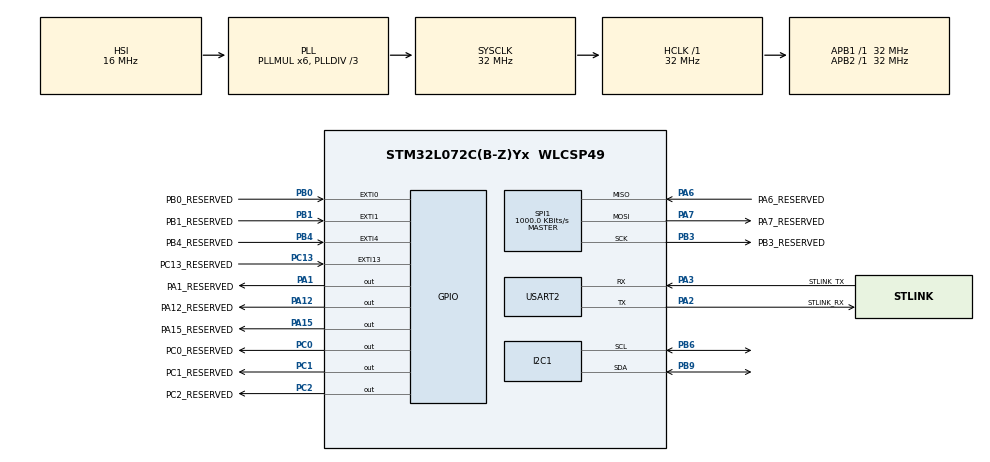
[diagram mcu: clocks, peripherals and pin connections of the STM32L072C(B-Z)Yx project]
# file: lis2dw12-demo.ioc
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I2C1.Timing=0x00B07CB4
Mcu.Family=STM32L0
Mcu.Name=STM32L072C(B-Z)Yx
Mcu.Package=WLCSP49
NVIC.EXTI0_1_IRQn=true\:0\:0\:false\:false\:true\:true\:true\:true
NVIC.EXTI4_15_IRQn=true\:0\:0\:false\:false\:true\:true\:true\:true
NVIC.RTC_IRQn=true\:0\:0\:false\:false\:true\:true\:true\:true
NVIC.USART2_IRQn=true\:0\:0\:false\:false\:true\:true\:true\:true
PA1.GPIO_Label=PA1_RESERVED
PA1.GPIO_Speed=GPIO_SPEED_FREQ_HIGH
PA1.PinState=GPIO_PIN_RESET
PA1.Signal=GPIO_Output
PA12.GPIO_Label=PA12_RESERVED
PA12.GPIO_Speed=GPIO_SPEED_FREQ_HIGH
PA12.Signal=GPIO_Output
PA15.GPIO_Label=PA15_RESERVED
PA15.GPIO_Speed=GPIO_SPEED_FREQ_HIGH
PA15.Signal=GPIO_Output
PA2.GPIO_Label=STLINK_RX
PA2.Mode=Asynchronous
PA2.Signal=USART2_TX
PA3.GPIO_Label=STLINK_TX
PA3.Mode=Asynchronous
PA3.Signal=USART2_RX
PA6.GPIO_Label=PA6_RESERVED
PA6.Mode=Full_Duplex_Master
PA6.Signal=SPI1_MISO
PA7.GPIO_Label=PA7_RESERVED
PA7.Mode=Full_Duplex_Master
PA7.Signal=SPI1_MOSI
PB0.GPIO_Label=PB0_RESERVED
PB0.Signal=GPXTI0
PB1.GPIO_Label=PB1_RESERVED
PB1.Signal=GPXTI1
PB3.GPIO_Label=PB3_RESERVED
PB3.Mode=Full_Duplex_Master
PB3.Signal=SPI1_SCK
PB4.GPIO_Label=PB4_RESERVED
PB4.Signal=GPXTI4
PB6.Mode=I2C
PB6.Signal=I2C1_SCL
PB9.Mode=I2C
PB9.Signal=I2C1_SDA
PC0.GPIO_Label=PC0_RESERVED
PC0.GPIO_Speed=GPIO_SPEED_FREQ_HIGH
PC0.Signal=GPIO_Output
PC1.GPIO_Label=PC1_RESERVED
PC1.GPIO_Speed=GPIO_SPEED_FREQ_HIGH
PC1.Signal=GPIO_Output
PC13.GPIO_Label=PC13_RESERVED
PC13.Signal=GPXTI13
PC2.GPIO_Label=PC2_RESERVED
PC2.GPIO_Speed=GPIO_SPEED_FREQ_HIGH
PC2.Signal=GPIO_Output
PH0-OSC_IN.Signal=RCC_OSC_IN
PH1-OSC_OUT.Signal=RCC_OSC_OUT
ProjectManager.HeapSize=0x200
ProjectManager.StackSize=0x400
ProjectManager.TargetToolchain=STM32CubeIDE
RCC.AHBFreq_Value=32000000
RCC.APB1Freq_Value=32000000
RCC.APB1TimFreq_Value=32000000
RCC.APB2Freq_Value=32000000
RCC.APB2TimFreq_Value=32000000
RCC.HCLKFreq_Value=32000000
RCC.HSE_VALUE=8000000
RCC.HSI16_VALUE=16000000
RCC.HSI48_VALUE=48000000
RCC.HSI_VALUE=16000000
RCC.LSE_VALUE=32768
RCC.MSI_VALUE=2097000
RCC.PLLDIV=RCC_PLLDIV_3
RCC.PLLMUL=RCC_PLLMUL_6
RCC.SYSCLKFreq_VALUE=32000000
RCC.SYSCLKSource=RCC_SYSCLKSOURCE_PLLCLK
RCC.VCOOutputFreq_Value=96000000
RTC.Alarm-Alarm\ A=RTC_ALARM_A
RTC.AlarmSubSecondMask-Alarm\ A=RTC_ALARMSUBSECONDMASK_NONE
RTC.AsynchPrediv=31
RTC.Format=RTC_FORMAT_BIN
RTC.SynchPrediv=1023
SPI1.BaudRatePrescaler=SPI_BAUDRATEPRESCALER_32
SPI1.CalculateBaudRate=1000.0 KBits/s
SPI1.Direction=SPI_DIRECTION_2LINES
SPI1.Mode=SPI_MODE_MASTER
SPI1.VirtualType=VM_MASTER
USART2.VirtualMode-Asynchronous=VM_ASYNC
VP_RTC_VS_RTC_Activate.Mode=RTC_Enabled
VP_RTC_VS_RTC_Alarm_A_Intern.Mode=Alarm A
VP_RTC_VS_RTC_Calendar.Mode=RTC_Calendar
board=B-L072Z-LRWAN1

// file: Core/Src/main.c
/* USER CODE BEGIN Header */
/**
  ******************************************************************************
  * @file           : main.c
  * @brief          : Main program body
  ******************************************************************************
  * @attention
  *
  * Copyright (c) 2026 STMicroelectronics.
  * All rights reserved.
  *
  * This software is licensed under terms that can be found in the LICENSE file
  * in the root directory of this software component.
  * If no LICENSE file comes with this software, it is provided AS-IS.
  *
  ******************************************************************************
  */
/* USER CODE END Header */
#include "main.h"

/* USER CODE BEGIN Includes */
#include <stdio.h>

/* USER CODE END Includes */

I2C_HandleTypeDef hi2c1;

RTC_HandleTypeDef hrtc;

SPI_HandleTypeDef hspi1;

UART_HandleTypeDef huart2;

void SystemClock_Config(void);
static void MX_GPIO_Init(void);
static void MX_I2C1_Init(void);
static void MX_RTC_Init(void);
static void MX_SPI1_Init(void);
static void MX_USART2_UART_Init(void);

/* USER CODE BEGIN 0 */

#define LIS2DW12_I2C_ADDRESS (0x18 << 1)
#define LIS2DW12_WHO_AM_I 0x0F
#define LIS2DW12_CTRL1 0x20
#define LIS2DW12_CTRL2 0x21
#define LIS2DW12_CTRL4 0x23
#define LIS2DW12_STATUS 0x27
#define LIS2DW12_OUT_X_L 0x28

static volatile uint8_t dataReadyInterruptSeen;

static void ValidateWhoAmI(void)
{
  uint8_t deviceId = 0;
  const uint8_t successMessage[] = "WHO_AM_I: 0x44\r\n";
  const uint8_t errorMessage[] = "WHO_AM_I: ERROR\r\n";

  if (HAL_I2C_Mem_Read(&hi2c1, LIS2DW12_I2C_ADDRESS, LIS2DW12_WHO_AM_I,
                       I2C_MEMADD_SIZE_8BIT, &deviceId, 1, 100) == HAL_OK
      && deviceId == 0x44)
  {
    HAL_UART_Transmit(&huart2, (uint8_t *)successMessage,
                      sizeof(successMessage) - 1, 100);
  }
  else
  {
    HAL_UART_Transmit(&huart2, (uint8_t *)errorMessage,
                      sizeof(errorMessage) - 1, 100);
  }
}

static void DecodeXyz(const uint8_t raw[6], int16_t axes[3])
{
  axes[0] = (int16_t)((uint16_t)raw[0] | ((uint16_t)raw[1] << 8));
  axes[1] = (int16_t)((uint16_t)raw[2] | ((uint16_t)raw[3] << 8));
  axes[2] = (int16_t)((uint16_t)raw[4] | ((uint16_t)raw[5] << 8));
}

static HAL_StatusTypeDef ReadXyzBurst(int16_t axes[3])
{
  uint8_t raw[6] = {0};
  HAL_StatusTypeDef status = HAL_I2C_Mem_Read(
      &hi2c1, LIS2DW12_I2C_ADDRESS, LIS2DW12_OUT_X_L,
      I2C_MEMADD_SIZE_8BIT, raw, sizeof(raw), 100);

  if (status == HAL_OK)
  {
    DecodeXyz(raw, axes);
  }
  return status;
}

static HAL_StatusTypeDef ReadXyzIndividual(int16_t axes[3])
{
  uint8_t raw[6] = {0};

  for (uint8_t i = 0; i < sizeof(raw); i++)
  {
    if (HAL_I2C_Mem_Read(&hi2c1, LIS2DW12_I2C_ADDRESS,
                         LIS2DW12_OUT_X_L + i, I2C_MEMADD_SIZE_8BIT,
                         &raw[i], 1, 100) != HAL_OK)
    {
      return HAL_ERROR;
    }
  }

  DecodeXyz(raw, axes);
  return HAL_OK;
}

static uint8_t IsExpectedSample(const int16_t axes[3])
{
  return axes[0] == 1600 && axes[1] == -3200 && axes[2] == 16000;
}

static void ValidateXyzRead(void)
{
  int16_t axes[3] = {0};
  const uint8_t successMessage[] = "XYZ: 1600,-3200,16000\r\n";
  const uint8_t errorMessage[] = "XYZ: ERROR\r\n";
  const uint8_t *message = errorMessage;
  uint16_t messageSize = sizeof(errorMessage) - 1;

  if (ReadXyzIndividual(axes) == HAL_OK && IsExpectedSample(axes))
  {
    message = successMessage;
    messageSize = sizeof(successMessage) - 1;
  }

  HAL_UART_Transmit(&huart2, (uint8_t *)message, messageSize, 100);
}

static void ValidateAutoIncrement(void)
{
  uint8_t disabled = 0x00;
  uint8_t enabled = 0x04;
  uint8_t repeated[6] = {0};
  int16_t axes[3] = {0};
  const uint8_t successMessage[] = "IF_ADD_INC: PASS\r\n";
  const uint8_t errorMessage[] = "IF_ADD_INC: ERROR\r\n";

  // Reuse the sample validated by ValidateXyzRead(). Its X value is 0.0976 g:
  // 0.0976 g / 0.000976 g/LSB = 100 counts; 100 << 4 = 0x0640,
  // so OUT_X_L contains 0x40. With address increment disabled, every byte
  // in this burst must therefore repeat 0x40 from OUT_X_L.
  if (HAL_I2C_Mem_Write(&hi2c1, LIS2DW12_I2C_ADDRESS, LIS2DW12_CTRL2,
                        I2C_MEMADD_SIZE_8BIT, &disabled, 1, 100) != HAL_OK
      || HAL_I2C_Mem_Read(&hi2c1, LIS2DW12_I2C_ADDRESS, LIS2DW12_OUT_X_L,
                          I2C_MEMADD_SIZE_8BIT, repeated, sizeof(repeated), 100) != HAL_OK
      || repeated[0] != 0x40 || repeated[1] != 0x40
      || repeated[2] != 0x40 || repeated[3] != 0x40
      || repeated[4] != 0x40 || repeated[5] != 0x40
      || ReadXyzIndividual(axes) != HAL_OK || !IsExpectedSample(axes))
  {
    HAL_UART_Transmit(&huart2, (uint8_t *)errorMessage,
                      sizeof(errorMessage) - 1, 100);
    return;
  }

  // Restore the default and read all six consecutive output registers.
  if (HAL_I2C_Mem_Write(&hi2c1, LIS2DW12_I2C_ADDRESS, LIS2DW12_CTRL2,
                        I2C_MEMADD_SIZE_8BIT, &enabled, 1, 100) != HAL_OK
      || ReadXyzBurst(axes) != HAL_OK || !IsExpectedSample(axes))
  {
    HAL_UART_Transmit(&huart2, (uint8_t *)errorMessage,
                      sizeof(errorMessage) - 1, 100);
    return;
  }

  HAL_UART_Transmit(&huart2, (uint8_t *)successMessage,
                    sizeof(successMessage) - 1, 100);
}

static void ValidateDataReadyPolling(void)
{
  uint8_t ctrl1 = 0x20;
  uint8_t status = 0;
  uint32_t startedAt = HAL_GetTick();
  const uint8_t successMessage[] = "DRDY_POLL: PASS\r\n";
  const uint8_t errorMessage[] = "DRDY_POLL: ERROR\r\n";
  const uint8_t *message = errorMessage;
  uint16_t messageSize = sizeof(errorMessage) - 1;

  if (HAL_I2C_Mem_Write(&hi2c1, LIS2DW12_I2C_ADDRESS, LIS2DW12_CTRL1,
                        I2C_MEMADD_SIZE_8BIT, &ctrl1, 1, 100) == HAL_OK)
  {
    // ODR enables conversions; DRDY is raised only after a new sample arrives.
    while ((HAL_GetTick() - startedAt) < 1000)
    {
      if (HAL_I2C_Mem_Read(&hi2c1, LIS2DW12_I2C_ADDRESS, LIS2DW12_STATUS,
                           I2C_MEMADD_SIZE_8BIT, &status, 1, 100) != HAL_OK)
      {
        break;
      }
      if ((status & 0x01) != 0)
      {
        message = successMessage;
        messageSize = sizeof(successMessage) - 1;
        break;
      }
    }
  }

  HAL_UART_Transmit(&huart2, (uint8_t *)message, messageSize, 100);
}

static void ValidateDataReadyInterrupt(void)
{
  uint8_t ctrl4 = 0x01;
  uint32_t startedAt = HAL_GetTick();
  const uint8_t successMessage[] = "DRDY_INT1: PASS\r\n";
  const uint8_t errorMessage[] = "DRDY_INT1: ERROR\r\n";

  dataReadyInterruptSeen = 0;
  if (HAL_I2C_Mem_Write(&hi2c1, LIS2DW12_I2C_ADDRESS, LIS2DW12_CTRL4,
                        I2C_MEMADD_SIZE_8BIT, &ctrl4, 1, 100) == HAL_OK)
  {
    while (!dataReadyInterruptSeen && (HAL_GetTick() - startedAt) < 10)
    {
    }
  }

  const uint8_t *message = dataReadyInterruptSeen ? successMessage : errorMessage;
  uint16_t messageSize = dataReadyInterruptSeen
      ? sizeof(successMessage) - 1
      : sizeof(errorMessage) - 1;
  HAL_UART_Transmit(&huart2, (uint8_t *)message, messageSize, 100);
}

static void FormatAccelerationG(int16_t raw, char *text, size_t textSize)
{
  // Default 12-bit mode: the signed sample is left-aligned by four bits and
  // each count represents 976 micro-g (DS11811 Rev. 9, Table 3).
  int32_t microG = ((int32_t)raw / 16) * 976;
  uint32_t magnitude = microG < 0 ? (uint32_t)(-microG) : (uint32_t)microG;

  snprintf(text, textSize, "%s%lu.%06lu", microG < 0 ? "-" : "",
           (unsigned long)(magnitude / 1000000U),
           (unsigned long)(magnitude % 1000000U));
}

static void ReportDataReadySample(void)
{
  int16_t axes[3] = {0};
  char values[3][16];
  char message[72];

  if (!dataReadyInterruptSeen)
  {
    return;
  }

  // Keep I2C and UART work outside the ISR; the callback only records the edge.
  dataReadyInterruptSeen = 0;
  if (ReadXyzBurst(axes) != HAL_OK)
  {
    return;
  }

  FormatAccelerationG(axes[0], values[0], sizeof(values[0]));
  FormatAccelerationG(axes[1], values[1], sizeof(values[1]));
  FormatAccelerationG(axes[2], values[2], sizeof(values[2]));
  int length = snprintf(message, sizeof(message), "DRDY XYZ [g]: %s,%s,%s\r\n",
                        values[0], values[1], values[2]);
  if (length > 0)
  {
    HAL_UART_Transmit(&huart2, (uint8_t *)message, (uint16_t)length, 100);
  }
}

void HAL_GPIO_EXTI_Callback(uint16_t GPIO_Pin)
{
  if (GPIO_Pin == PB1_RESERVED_Pin)
  {
    dataReadyInterruptSeen = 1;
  }
}

/* USER CODE END 0 */

int main(void)
{

  /* MCU Configuration--------------------------------------------------------*/

  /* Reset of all peripherals, Initializes the Flash interface and the Systick. */
  HAL_Init();

  /* Configure the system clock */
  SystemClock_Config();

  /* Initialize all configured peripherals */
  MX_GPIO_Init();
  MX_I2C1_Init();
  MX_RTC_Init();
  MX_SPI1_Init();
  MX_USART2_UART_Init();
  /* USER CODE BEGIN 2 */

  const uint8_t helloMessage[] = "Hello from STM32\r\n";
  HAL_UART_Transmit(&huart2, (uint8_t *)helloMessage,
                    sizeof(helloMessage) - 1, 100);

  ValidateWhoAmI();
  ValidateXyzRead();
  ValidateAutoIncrement();
  ValidateDataReadyPolling();
  ValidateDataReadyInterrupt();

  /* USER CODE END 2 */

  /* Infinite loop */
  while (1)
  {

    /* USER CODE BEGIN 3 */
    // Interrupts flag new data; this delay caps reads and UART output at 10 Hz.
    HAL_Delay(100);
    ReportDataReadySample();
  }
  /* USER CODE END 3 */
}

void SystemClock_Config(void)
{
  RCC_OscInitTypeDef RCC_OscInitStruct = {0};
  RCC_ClkInitTypeDef RCC_ClkInitStruct = {0};
  RCC_PeriphCLKInitTypeDef PeriphClkInit = {0};

  /** Configure the main internal regulator output voltage
  */
  __HAL_PWR_VOLTAGESCALING_CONFIG(PWR_REGULATOR_VOLTAGE_SCALE1);

  /** Initializes the RCC Oscillators according to the specified parameters
  * in the RCC_OscInitTypeDef structure.
  */
  RCC_OscInitStruct.OscillatorType = RCC_OSCILLATORTYPE_HSI|RCC_OSCILLATORTYPE_LSI;
  RCC_OscInitStruct.HSIState = RCC_HSI_ON;
  RCC_OscInitStruct.HSICalibrationValue = RCC_HSICALIBRATION_DEFAULT;
  RCC_OscInitStruct.LSIState = RCC_LSI_ON;
  RCC_OscInitStruct.PLL.PLLState = RCC_PLL_ON;
  RCC_OscInitStruct.PLL.PLLSource = RCC_PLLSOURCE_HSI;
  RCC_OscInitStruct.PLL.PLLMUL = RCC_PLLMUL_6;
  RCC_OscInitStruct.PLL.PLLDIV = RCC_PLLDIV_3;
  if (HAL_RCC_OscConfig(&RCC_OscInitStruct) != HAL_OK)
  {
    Error_Handler();
  }

  /** Initializes the CPU, AHB and APB buses clocks
  */
  RCC_ClkInitStruct.ClockType = RCC_CLOCKTYPE_HCLK|RCC_CLOCKTYPE_SYSCLK
                              |RCC_CLOCKTYPE_PCLK1|RCC_CLOCKTYPE_PCLK2;
  RCC_ClkInitStruct.SYSCLKSource = RCC_SYSCLKSOURCE_PLLCLK;
  RCC_ClkInitStruct.AHBCLKDivider = RCC_SYSCLK_DIV1;
  RCC_ClkInitStruct.APB1CLKDivider = RCC_HCLK_DIV1;
  RCC_ClkInitStruct.APB2CLKDivider = RCC_HCLK_DIV1;

  if (HAL_RCC_ClockConfig(&RCC_ClkInitStruct, FLASH_LATENCY_1) != HAL_OK)
  {
    Error_Handler();
  }
  PeriphClkInit.PeriphClockSelection = RCC_PERIPHCLK_USART2|RCC_PERIPHCLK_I2C1
                              |RCC_PERIPHCLK_RTC;
  PeriphClkInit.Usart2ClockSelection = RCC_USART2CLKSOURCE_PCLK1;
  PeriphClkInit.I2c1ClockSelection = RCC_I2C1CLKSOURCE_PCLK1;
  PeriphClkInit.RTCClockSelection = RCC_RTCCLKSOURCE_LSI;
  if (HAL_RCCEx_PeriphCLKConfig(&PeriphClkInit) != HAL_OK)
  {
    Error_Handler();
  }
}

static void MX_I2C1_Init(void)
{

  hi2c1.Instance = I2C1;
  hi2c1.Init.Timing = 0x00B07CB4;
  hi2c1.Init.OwnAddress1 = 0;
  hi2c1.Init.AddressingMode = I2C_ADDRESSINGMODE_7BIT;
  hi2c1.Init.DualAddressMode = I2C_DUALADDRESS_DISABLE;
  hi2c1.Init.OwnAddress2 = 0;
  hi2c1.Init.OwnAddress2Masks = I2C_OA2_NOMASK;
  hi2c1.Init.GeneralCallMode = I2C_GENERALCALL_DISABLE;
  hi2c1.Init.NoStretchMode = I2C_NOSTRETCH_DISABLE;
  if (HAL_I2C_Init(&hi2c1) != HAL_OK)
  {
    Error_Handler();
  }

  /** Configure Analogue filter
  */
  if (HAL_I2CEx_ConfigAnalogFilter(&hi2c1, I2C_ANALOGFILTER_ENABLE) != HAL_OK)
  {
    Error_Handler();
  }

  /** Configure Digital filter
  */
  if (HAL_I2CEx_ConfigDigitalFilter(&hi2c1, 0) != HAL_OK)
  {
    Error_Handler();
  }

}

static void MX_RTC_Init(void)
{

  RTC_TimeTypeDef sTime = {0};
  RTC_DateTypeDef sDate = {0};
  RTC_AlarmTypeDef sAlarm = {0};

  /** Initialize RTC Only
  */
  hrtc.Instance = RTC;
  hrtc.Init.HourFormat = RTC_HOURFORMAT_24;
  hrtc.Init.AsynchPrediv = 31;
  hrtc.Init.SynchPrediv = 1023;
  hrtc.Init.OutPut = RTC_OUTPUT_DISABLE;
  hrtc.Init.OutPutRemap = RTC_OUTPUT_REMAP_NONE;
  hrtc.Init.OutPutPolarity = RTC_OUTPUT_POLARITY_HIGH;
  hrtc.Init.OutPutType = RTC_OUTPUT_TYPE_OPENDRAIN;
  if (HAL_RTC_Init(&hrtc) != HAL_OK)
  {
    Error_Handler();
  }

  /** Initialize RTC and set the Time and Date
  */
  sTime.Hours = 0;
  sTime.Minutes = 0;
  sTime.Seconds = 0;
  sTime.DayLightSaving = RTC_DAYLIGHTSAVING_NONE;
  sTime.StoreOperation = RTC_STOREOPERATION_RESET;
  if (HAL_RTC_SetTime(&hrtc, &sTime, RTC_FORMAT_BIN) != HAL_OK)
  {
    Error_Handler();
  }
  sDate.WeekDay = RTC_WEEKDAY_MONDAY;
  sDate.Month = RTC_MONTH_JANUARY;
  sDate.Date = 1;
  sDate.Year = 0;

  if (HAL_RTC_SetDate(&hrtc, &sDate, RTC_FORMAT_BIN) != HAL_OK)
  {
    Error_Handler();
  }

  /** Enable the Alarm A
  */
  sAlarm.AlarmTime.Hours = 0;
  sAlarm.AlarmTime.Minutes = 0;
  sAlarm.AlarmTime.Seconds = 0;
  sAlarm.AlarmTime.SubSeconds = 0;
  sAlarm.AlarmTime.DayLightSaving = RTC_DAYLIGHTSAVING_NONE;
  sAlarm.AlarmTime.StoreOperation = RTC_STOREOPERATION_RESET;
  sAlarm.AlarmMask = RTC_ALARMMASK_NONE;
  sAlarm.AlarmSubSecondMask = RTC_ALARMSUBSECONDMASK_NONE;
  sAlarm.AlarmDateWeekDaySel = RTC_ALARMDATEWEEKDAYSEL_DATE;
  sAlarm.AlarmDateWeekDay = 1;
  sAlarm.Alarm = RTC_ALARM_A;
  if (HAL_RTC_SetAlarm_IT(&hrtc, &sAlarm, RTC_FORMAT_BIN) != HAL_OK)
  {
    Error_Handler();
  }

}

static void MX_SPI1_Init(void)
{

  /* SPI1 parameter configuration*/
  hspi1.Instance = SPI1;
  hspi1.Init.Mode = SPI_MODE_MASTER;
  hspi1.Init.Direction = SPI_DIRECTION_2LINES;
  hspi1.Init.DataSize = SPI_DATASIZE_8BIT;
  hspi1.Init.CLKPolarity = SPI_POLARITY_LOW;
  hspi1.Init.CLKPhase = SPI_PHASE_1EDGE;
  hspi1.Init.NSS = SPI_NSS_SOFT;
  hspi1.Init.BaudRatePrescaler = SPI_BAUDRATEPRESCALER_32;
  hspi1.Init.FirstBit = SPI_FIRSTBIT_MSB;
  hspi1.Init.TIMode = SPI_TIMODE_DISABLE;
  hspi1.Init.CRCCalculation = SPI_CRCCALCULATION_DISABLE;
  hspi1.Init.CRCPolynomial = 7;
  if (HAL_SPI_Init(&hspi1) != HAL_OK)
  {
    Error_Handler();
  }

}

static void MX_USART2_UART_Init(void)
{

  huart2.Instance = USART2;
  huart2.Init.BaudRate = 115200;
  huart2.Init.WordLength = UART_WORDLENGTH_8B;
  huart2.Init.StopBits = UART_STOPBITS_1;
  huart2.Init.Parity = UART_PARITY_NONE;
  huart2.Init.Mode = UART_MODE_TX_RX;
  huart2.Init.HwFlowCtl = UART_HWCONTROL_NONE;
  huart2.Init.OverSampling = UART_OVERSAMPLING_16;
  huart2.Init.OneBitSampling = UART_ONE_BIT_SAMPLE_DISABLE;
  huart2.AdvancedInit.AdvFeatureInit = UART_ADVFEATURE_NO_INIT;
  if (HAL_UART_Init(&huart2) != HAL_OK)
  {
    Error_Handler();
  }

}

static void MX_GPIO_Init(void)
{
  GPIO_InitTypeDef GPIO_InitStruct = {0};

  /* GPIO Ports Clock Enable */
  __HAL_RCC_GPIOA_CLK_ENABLE();
  __HAL_RCC_GPIOB_CLK_ENABLE();
  __HAL_RCC_GPIOC_CLK_ENABLE();
  __HAL_RCC_GPIOH_CLK_ENABLE();

  /*Configure GPIO pin Output Level */
  HAL_GPIO_WritePin(GPIOA, PA15_RESERVED_Pin|PA12_RESERVED_Pin|PA1_RESERVED_Pin, GPIO_PIN_RESET);

  /*Configure GPIO pin Output Level */
  HAL_GPIO_WritePin(GPIOC, PC1_RESERVED_Pin|PC0_RESERVED_Pin|PC2_RESERVED_Pin, GPIO_PIN_RESET);

  /*Configure GPIO pins : PA15_RESERVED_Pin PA12_RESERVED_Pin PA1_RESERVED_Pin */
  GPIO_InitStruct.Pin = PA15_RESERVED_Pin|PA12_RESERVED_Pin|PA1_RESERVED_Pin;
  GPIO_InitStruct.Mode = GPIO_MODE_OUTPUT_PP;
  GPIO_InitStruct.Pull = GPIO_NOPULL;
  GPIO_InitStruct.Speed = GPIO_SPEED_FREQ_HIGH;
  HAL_GPIO_Init(GPIOA, &GPIO_InitStruct);

  /*Configure GPIO pins : PB4_RESERVED_Pin PB1_RESERVED_Pin PB0_RESERVED_Pin */
  GPIO_InitStruct.Pin = PB4_RESERVED_Pin|PB1_RESERVED_Pin|PB0_RESERVED_Pin;
  GPIO_InitStruct.Mode = GPIO_MODE_IT_RISING;
  GPIO_InitStruct.Pull = GPIO_NOPULL;
  HAL_GPIO_Init(GPIOB, &GPIO_InitStruct);

  /*Configure GPIO pin : PC13_RESERVED_Pin */
  GPIO_InitStruct.Pin = PC13_RESERVED_Pin;
  GPIO_InitStruct.Mode = GPIO_MODE_IT_RISING;
  GPIO_InitStruct.Pull = GPIO_NOPULL;
  HAL_GPIO_Init(PC13_RESERVED_GPIO_Port, &GPIO_InitStruct);

  /*Configure GPIO pins : PC1_RESERVED_Pin PC0_RESERVED_Pin PC2_RESERVED_Pin */
  GPIO_InitStruct.Pin = PC1_RESERVED_Pin|PC0_RESERVED_Pin|PC2_RESERVED_Pin;
  GPIO_InitStruct.Mode = GPIO_MODE_OUTPUT_PP;
  GPIO_InitStruct.Pull = GPIO_NOPULL;
  GPIO_InitStruct.Speed = GPIO_SPEED_FREQ_HIGH;
  HAL_GPIO_Init(GPIOC, &GPIO_InitStruct);

  /* EXTI interrupt init*/
  HAL_NVIC_SetPriority(EXTI0_1_IRQn, 0, 0);
  HAL_NVIC_EnableIRQ(EXTI0_1_IRQn);

  HAL_NVIC_SetPriority(EXTI4_15_IRQn, 0, 0);
  HAL_NVIC_EnableIRQ(EXTI4_15_IRQn);

}

void Error_Handler(void)
{
  __disable_irq();
  while (1)
  {
  }
}
